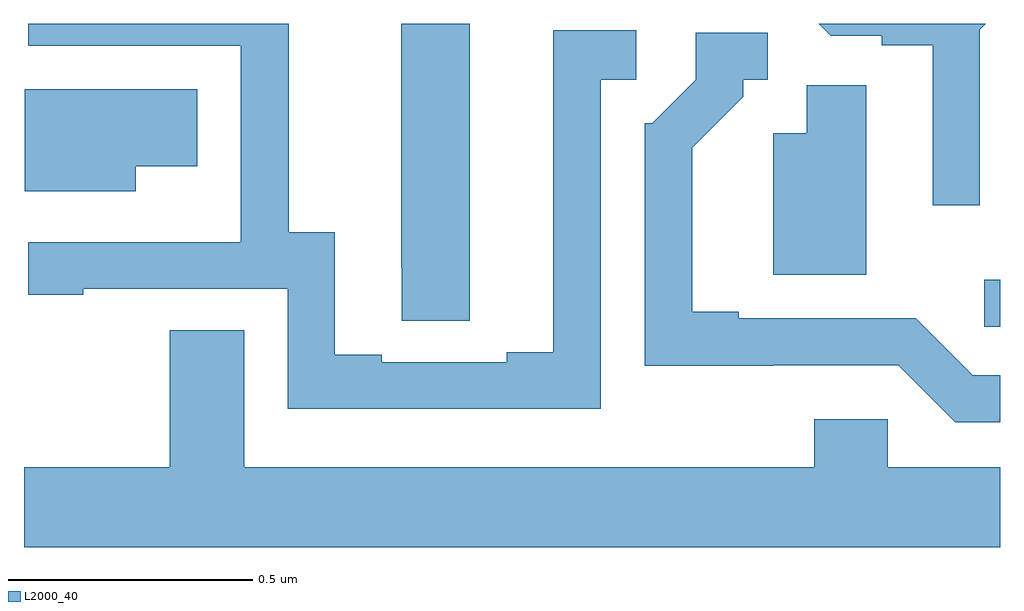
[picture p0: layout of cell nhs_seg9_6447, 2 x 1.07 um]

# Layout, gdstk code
import gdstk
lib = gdstk.Library(unit=1e-6, precision=1e-09)
def R(c, l, rs):  # rectangles x0, y0, x1, y1
    for r in rs: c.add(gdstk.rectangle(r[:2], r[2:], *l))
def P(c, l, *ps):  # polygons
    for p in ps: c.add(gdstk.Polygon(p, *l))
L2000_40 = (2000, 40)

nhs_seg9_6447 = lib.new_cell('nhs_seg9_6447')
R(nhs_seg9_6447, L2000_40, [(193.968,1188.879,194,1188.976)])
P(nhs_seg9_6447, L2000_40, [(193.182,1189.386),(193.255,1189.386),(193.255,1189.487),(193.085,1189.487),(193.085,1188.827),(192.989,1188.827),(192.989,1188.807),(192.733,1188.807),(192.733,1188.822),(192.637,1188.822),(192.637,1189.073),(192.543,1189.073),(192.543,1189.5),(192.009,1189.5),(192.009,1189.455),(192.444,1189.455),(192.444,1189.054),(192.443,1189.054),(192.443,1189.053),(192.009,1189.053),(192.009,1188.945),(192.121,1188.945),(192.121,1188.957),(192.54,1188.957),(192.54,1188.711),(193.182,1188.711)],
  [(192.913,1189.5),(192.773,1189.5),(192.773,1189),(192.774,1189),(192.774,1188.892),(192.913,1188.892)],
  [(193.959,1189.488),(193.971,1189.5),(193.629,1189.5),(193.653,1189.476),(193.758,1189.476),(193.758,1189.456),(193.862,1189.456),(193.862,1189.128),(193.959,1189.128)],
  [(194,1188.78),(193.944,1188.78),(193.827,1188.897),(193.465,1188.897),(193.465,1188.91),(193.369,1188.91),(193.369,1189.246),(193.474,1189.351),(193.474,1189.386),(193.524,1189.386),(193.524,1189.482),(193.377,1189.482),(193.377,1189.386),(193.287,1189.296),(193.272,1189.296),(193.272,1188.8),(193.535,1188.8),(193.535,1188.801),(193.791,1188.801),(193.908,1188.684),(194,1188.684)],
  [(193.726,1189.374),(193.604,1189.374),(193.604,1189.276),(193.535,1189.276),(193.535,1188.986),(193.726,1188.986)],
  [(192.229,1189.208),(192.355,1189.208),(192.355,1189.366),(192.002,1189.366),(192.002,1189.157),(192.229,1189.157)],
  [(194,1188.592),(193.77,1188.592),(193.77,1188.69),(193.619,1188.69),(193.619,1188.592),(192.451,1188.592),(192.451,1188.872),(192.299,1188.872),(192.299,1188.592),(192,1188.592),(192,1188.428),(194,1188.428)])

lib.write_gds('nhs_seg9_6447.gds')
